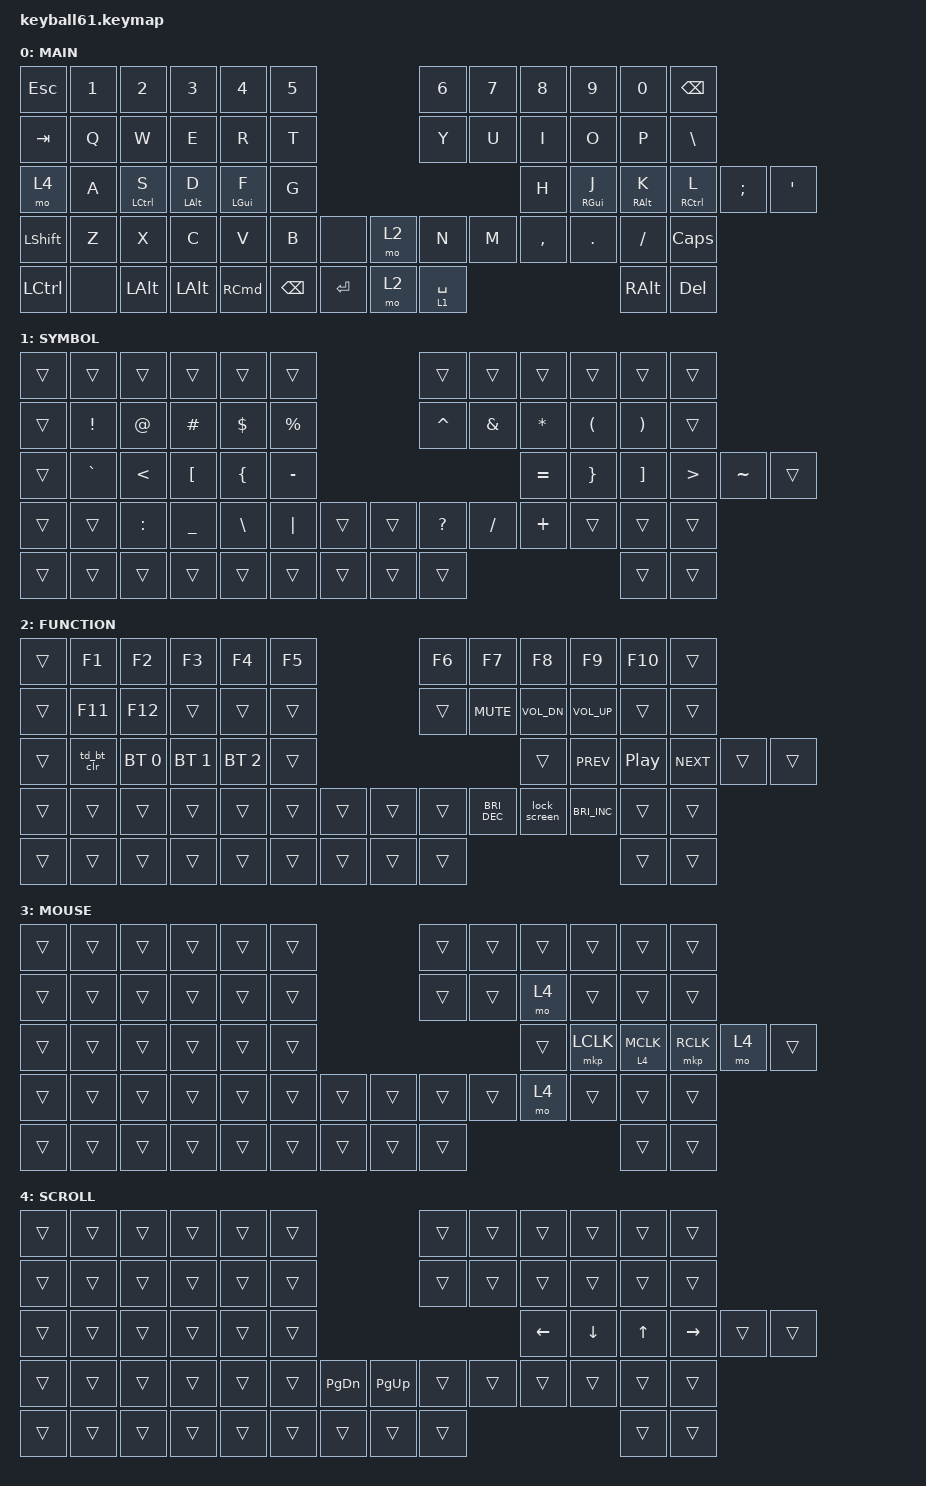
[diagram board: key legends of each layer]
#define DEFAULT 0
#define SYM     1
#define FUN     2
#define MOUSE   3 // Auto-Mouse Layer
#define SCROLL  4 // Motion Scroll Layer

#include <behaviors/mouse_keys.dtsi>
#include <dt-bindings/zmk/mouse.h>
#include <behaviors.dtsi>
#include <dt-bindings/zmk/bt.h>
#include <dt-bindings/zmk/keys.h>
#include <dt-bindings/zmk/pointing.h>

// ─── Key position index map ───────────────────────────────────────────────
//
//  Row 0:  0  1  2  3  4  5          6  7  8  9 10 11
//  Row 1: 12 13 14 15 16 17         18 19 20 21 22 23
//  Row 2: 24 25 26 27 28 29         30 31 32 33 34 35
//  Row 3: 36 37 38 39 40 41 42   43 44 45 46 47 48 49
//  Row 4: 50 51 52 53 54 55 56   57 58                59 60
//
// ─── Positional hold-tap groups (cross-hand only) ─────────────────────────

#define KEYS_L 0  1  2  3  4  5  12 13 14 15 16 17 24 25 26 27 28 29 36 37 38 39 40 41 42 50 51 52 53
#define KEYS_R 6  7  8  9  10 11 18 19 20 21 22 23 30 31 32 33 34 35 43 44 45 46 47 48 49 59 60
#define THUMBS 54 55 56 57 58

&lt {
    tapping-term-ms = <240>;
    flavor = "balanced";
    quick-tap-ms = <150>;
};

&mt {
    tapping-term-ms = <200>;
    flavor = "tap-preferred";
    quick-tap-ms = <150>;
};

/ {
    macros {
        lock_screen: lock_screen {
            compatible = "zmk,behavior-macro";
            #binding-cells = <0>;
            bindings =
                <&macro_press>,
                <&kp LCTRL &kp LCMD>,
                <&macro_tap>,
                <&kp Q>,
                <&macro_release>,
                <&kp LCTRL &kp LCMD>;
        };
    };

    behaviors {
        td_bt_clr: td_bt_clr {
            compatible = "zmk,behavior-tap-dance";
            #binding-cells = <0>;
            tapping-term-ms = <300>;
            bindings = <&none>, <&bt BT_CLR>;
        };

        mo_mkp: mo_mkp {
            compatible = "zmk,behavior-hold-tap";
            #binding-cells = <2>;
            tapping-term-ms = <120>;
            flavor = "balanced";
            bindings = <&mo>, <&mkp>;
        };

        // Home Row Mods - Left Hand
        // Hold only triggers when a RIGHT-hand key is the next press.
        hml: homerow_mods_left {
            compatible = "zmk,behavior-hold-tap";
            #binding-cells = <2>;
            bindings = <&kp>, <&kp>;
            flavor = "balanced";
            tapping-term-ms = <280>;
            quick-tap-ms = <175>;
            require-prior-idle-ms = <150>;
            hold-trigger-key-positions = <KEYS_R THUMBS>;
            hold-trigger-on-release;
        };

        // Home Row Mods - Right Hand
        // Hold only triggers when a LEFT-hand key is the next press.
        hmr: homerow_mods_right {
            compatible = "zmk,behavior-hold-tap";
            #binding-cells = <2>;
            bindings = <&kp>, <&kp>;
            flavor = "balanced";
            tapping-term-ms = <280>;
            quick-tap-ms = <175>;
            require-prior-idle-ms = <150>;
            hold-trigger-key-positions = <KEYS_L THUMBS>;
            hold-trigger-on-release;
        };
    };

    keymap {
        compatible = "zmk,keymap";

        default_layer {
            label = "MAIN";
            bindings = <
&kp ESC           &kp N1  &kp N2        &kp N3        &kp N4             &kp N5                           &kp N6       &kp N7  &kp N8     &kp N9   &kp N0         &kp BSPC
&kp TAB           &kp Q   &kp W         &kp E         &kp R              &kp T                            &kp Y        &kp U   &kp I      &kp O    &kp P          &kp BACKSLASH
&mo 4             &kp A         &hml LCTRL S  &hml LALT D   &hml LGUI F        &kp G                            &kp H        &hmr RGUI J    &hmr RALT K   &hmr RCTRL L &kp SEMI          &kp SQT
&kp LEFT_SHIFT    &kp Z   &kp X         &kp C         &kp V              &kp B          &none      &mo 2  &kp N        &kp M   &kp COMMA  &kp DOT  &kp FSLH       &kp CAPSLOCK
&kp LEFT_CONTROL  &none   &kp LEFT_ALT  &kp LEFT_ALT  &kp RIGHT_COMMAND  &kp BACKSPACE  &kp ENTER  &mo 2  &lt 1 SPACE                              &kp RIGHT_ALT  &kp DELETE
            >;
        };

        symbol_layer {
            label = "SYMBOL";
            bindings = <
&trans  &trans           &trans       &trans    &trans      &trans                       &trans          &trans         &trans            &trans                &trans                 &trans
&trans  &kp EXCL         &kp AT       &kp HASH  &kp DLLR    &kp PRCNT                    &kp CARET       &kp AMPS       &kp ASTRK         &kp LPAR              &kp RPAR               &trans
&trans  &kp GRAVE        &kp LT       &kp LBKT  &kp LBRC    &kp MINUS                    &kp EQUAL       &kp RBRC       &kp RBKT          &kp GT                &kp TILDE              &trans
&trans  &trans           &kp COLON    &kp UNDER &kp BSLH    &kp PIPE     &trans  &trans  &kp QMARK       &kp FSLH       &kp PLUS          &trans                &trans                 &trans
&trans  &trans           &trans       &trans    &trans      &trans       &trans  &trans  &trans                                                                   &trans                 &trans
            >;
        };

        function_layer {
            label = "FUNCTION";
            bindings = <
&trans  &kp F1      &kp F2        &kp F3        &kp F4        &kp F5                  &kp F6  &kp F7         &kp F8            &kp F9         &kp F10  &trans
&trans  &kp F11     &kp F12       &trans        &trans        &trans                  &trans  &kp K_MUTE     &kp C_VOL_DN      &kp C_VOL_UP   &trans   &trans
&trans  &td_bt_clr  &bt BT_SEL 0  &bt BT_SEL 1  &bt BT_SEL 2  &trans                  &trans  &kp C_PREV     &kp C_PLAY_PAUSE  &kp C_NEXT     &trans   &trans
&trans  &trans      &trans        &trans        &trans        &trans  &trans  &trans  &trans  &kp C_BRI_DEC  &lock_screen      &kp C_BRI_INC  &trans   &trans
&trans  &trans      &trans        &trans        &trans        &trans  &trans  &trans  &trans                                                  &trans   &trans
            >;
        };

        mouse_layer {
            label = "MOUSE";
            bindings = <
&trans  &trans  &trans  &trans  &trans  &trans                  &trans  &trans     &trans     &trans     &trans  &trans
&trans  &trans  &trans  &trans  &trans  &trans                  &trans  &trans     &mo 4      &trans     &trans  &trans
&trans  &trans  &trans  &trans  &trans  &trans                  &trans  &mkp LCLK  &mo_mkp 4 MCLK  &mkp RCLK  &mo 4   &trans
&trans  &trans  &trans  &trans  &trans  &trans  &trans  &trans  &trans  &trans     &mo 4      &trans     &trans  &trans
&trans  &trans  &trans  &trans  &trans  &trans  &trans  &trans  &trans                                   &trans  &trans
            >;
        };

        scroll_layer {
            label = "SCROLL";
            bindings = <
&trans  &trans  &trans  &trans  &trans  &trans                              &trans    &trans          &trans        &trans           &trans  &trans
&trans  &trans  &trans  &trans  &trans  &trans                              &trans    &trans          &trans        &trans           &trans  &trans
&trans  &trans  &trans  &trans  &trans  &trans                              &kp LEFT  &kp DOWN_ARROW  &kp UP_ARROW  &kp RIGHT_ARROW  &trans  &trans
&trans  &trans  &trans  &trans  &trans  &trans  &kp PAGE_DOWN  &kp PAGE_UP  &trans    &trans          &trans        &trans           &trans  &trans
&trans  &trans  &trans  &trans  &trans  &trans  &trans         &trans       &trans                                                   &trans  &trans
            >;
        };
    };
};
